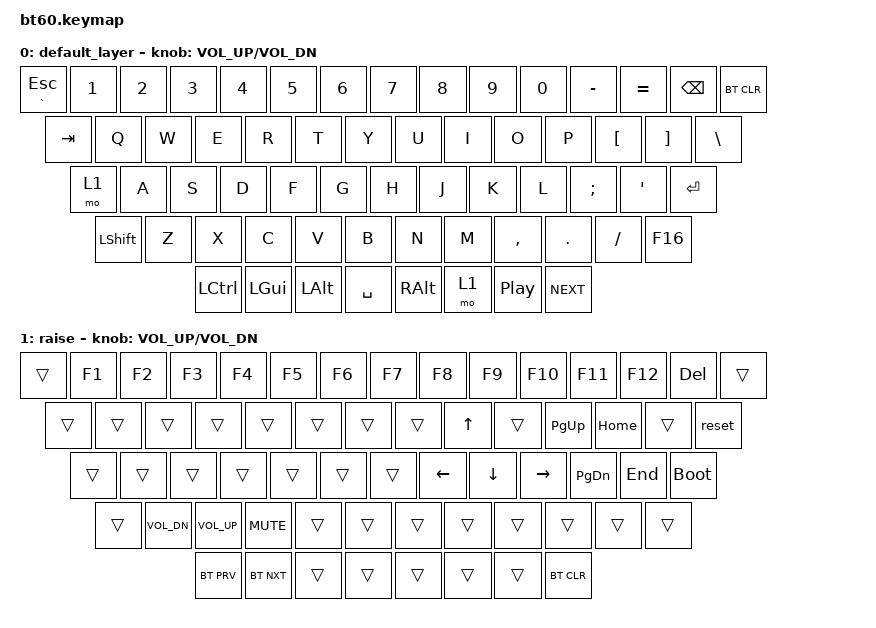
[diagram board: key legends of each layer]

   
#include <behaviors.dtsi>
#include <dt-bindings/zmk/keys.h>
#include <dt-bindings/zmk/bt.h>

/ {
	keymap {
		compatible = "zmk,keymap";

		default_layer {
				// ------------------------------------------------------------------------------------------
				// | ESC |  1  |  2  |  3  |  4  |  5  |  6  |  7  |  8  |  9  |  0  |  -  |  =  |   BKSP   | DEL
				// | TAB  |  Q  |  W  |  E  |  R  |  T  |  Y  |  U  |  I  |  O  |  P  |  [  |  ]  |   |    |
				// | CAPS  |  A  |  S  |  D  |  F  |  G  |  H  |  J  |  K  |  L  |  ;  |  '  |     ENTER    |
				// |  SHIFT    |  Z  |  X  |  C  |  V  |  B  |  N  |  M  |  ,  |  .  | /   |      SHIFT     |
				// |  CTL  |  WIN  |  ALT  |            SPACE               | ALT | 1    |  MENU    |  CTRL    |
				// ------------------------------------------------------------------------------------------
			bindings = <
				&mt GRAVE ESC &kp N1 &kp N2 &kp N3 &kp N4 &kp N5 &kp N6 &kp N7 &kp  N8   &kp  N9 &kp  N0  &kp MINUS &kp EQUAL &kp BSPC &bt BT_CLR
				&kp TAB  &kp Q  &kp W  &kp E  &kp R  &kp T  &kp Y  &kp U  &kp  I    &kp  O  &kp  P   &kp LBKT &kp RBKT  &kp BSLH
				&mo 1  &kp A  &kp S  &kp D  &kp F  &kp G  &kp H  &kp J  &kp  K    &kp  L  &kp SEMI &kp SQT           &kp RET
				&kp LSHFT  &kp Z  &kp X  &kp C  &kp V  &kp B  &kp N  &kp M  &kp COMMA &kp DOT &kp FSLH             &kp F16
				&kp LCTRL &kp LGUI &kp LALT             &kp SPACE                         &kp RALT  &mo 1 &kp C_PP &kp C_NEXT
			>;
			sensor-bindings = <&inc_dec_kp C_VOL_UP C_VOL_DN>;
		};
		raise {
			bindings = <
				&trans &kp F1 &kp F2 &kp F3 &kp F4 &kp F5 &kp F6 &kp F7 &kp  F8   &kp  F9 &kp  F10  &kp F11 &kp F12   &kp DEL &trans
				&trans &trans &trans &trans &trans &trans &trans &trans &kp UP &trans &kp PG_UP &kp HOME &trans           &reset
				&trans    &trans &trans &trans &trans &trans &trans &kp LEFT &kp DOWN &kp RIGHT &kp PG_DN  &kp END   &bootloader
				&trans &kp C_VOL_DN &kp C_VOL_UP &kp C_MUTE &trans &trans &trans &trans &trans &trans &trans              &trans
				&bt BT_PRV &bt BT_NXT  &trans              &trans                             &trans   &trans   &trans &bt BT_CLR
			>;
			sensor-bindings = <&inc_dec_kp C_VOL_UP C_VOL_DN>;
		};
	};
};
